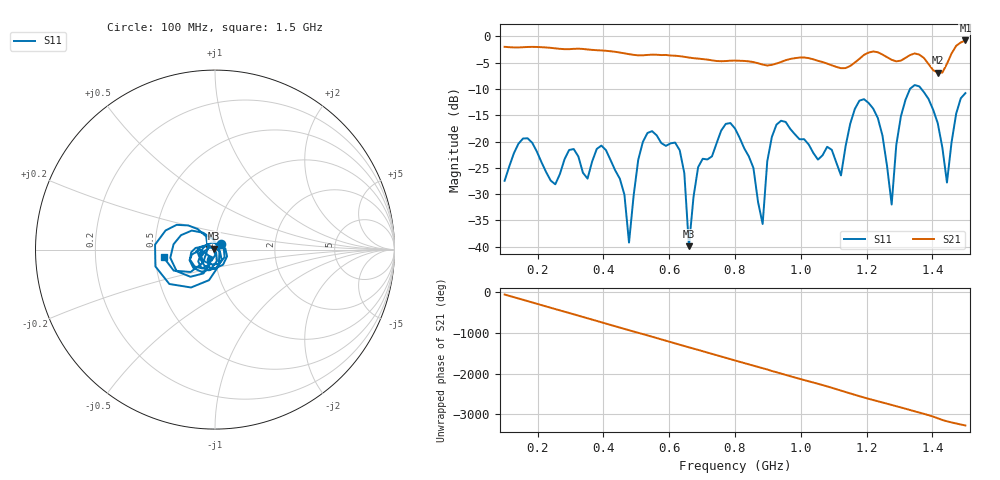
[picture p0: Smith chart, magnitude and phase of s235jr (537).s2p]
! NanoVNA-App
! Date: 2025-09-25 15:08:21
! Start: 100MHz Stop: 1,5GHz Points: 101
! S-Parameter data: F S11 S21 S12 S22
# Hz S RI R 50
!  Frequency  S11_Real  S11_Imag  S21_Real  S21_Imag  S12_Real  S12_Imag  S22_Real  S22_Imag
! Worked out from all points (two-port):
!   101 points, 100 MHz to 1.5 GHz, reference 50 ohm
!   highest |S21| = -0.76 dB at 1.5 GHz (marker M1); lowest = -6.9 dB at 1.416 GHz (marker M2)
!   |S21| within 3 dB of the highest: start of sweep to 633.6 MHz; 1.187 GHz to 1.257 GHz (69.62 MHz wide, 5.7 % of centre) (the widest 2 of 4)
!   lowest |S11| = -39.9 dB at 660 MHz (marker M3), VSWR 1.02, Z = 49.2 + j0.578 ohm
!   |S11| at or under -10 dB: start of sweep to 1.332 GHz; 1.366 GHz to end of sweep
!   S12 and S22 are empty: the file has one direction only
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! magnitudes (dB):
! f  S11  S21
! 100 MHz  -27.5  -2.0
! 156 MHz  -19.4  -2.0
! 338 MHz  -25.9  -2.4
! 408 MHz  -21.6  -2.7
! 478 MHz  -39.2  -3.4
! 520 MHz  -20.1  -3.6
! 576 MHz  -20.3  -3.5
! 632 MHz  -21.6  -3.7
! 660 MHz  -39.9  -4.0
! 688 MHz  -24.9  -4.2
! 800 MHz  -17.5  -4.6
! 884 MHz  -35.7  -5.3
! 926 MHz  -16.8  -5.1
! 1.038 GHz  -22.2  -4.3
! 1.122 GHz  -26.4  -6.0
! 1.192 GHz  -11.9  -3.5
! 1.248 GHz  -18.8  -3.4
! 1.276 GHz  -32.0  -4.4
! 1.332 GHz  -9.9  -3.5
! 1.416 GHz  -16.5  -6.9
! 1.444 GHz  -27.8  -5.2
! 1.5 GHz  -10.8  -0.8
